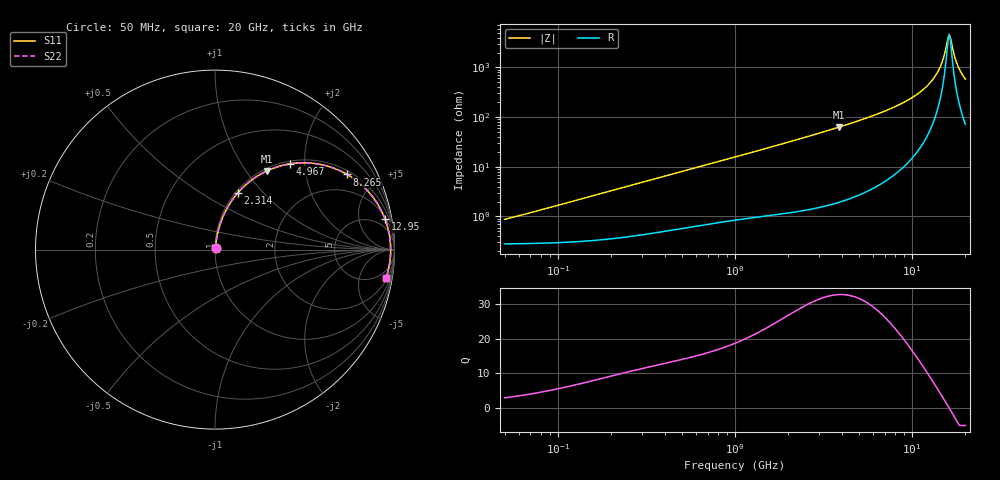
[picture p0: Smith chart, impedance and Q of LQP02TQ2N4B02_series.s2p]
!Murata Part Number: LQP02TQ2N4B02
!These Parameters are Measured in Series Mode Connection
!  o--[Z]--o
!Port1  Port2
!  o-------o
!Freq. Start=50[MHz] Stop=20[GHz], 401[Steps]
# Hz S RI R 50
!Freq.(Hz) S11(Real) S11(Imag) S21(Real) S21(Imag) S12(Real) S12(Imag) S22(Real) S22(Imag)
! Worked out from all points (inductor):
!   401 points, 50 MHz to 20 GHz, reference 50 ohm
!   read as one part in series: L = 2.63 nH near 51.52 MHz
!   highest Q = 32.7 at 3.85 GHz (marker M1), where L = 2.59 nH
!   self-resonance near 15.98 GHz
!   S11 on the Smith chart (normalised r, x): 50 MHz: 1.01, +0.02; 2.314 GHz: 1.03, +0.73; 4.967 GHz: 1.05, +1.68; 8.265 GHz: 1.15, +3.42; 12.95 GHz: 2, +11; 20 GHz: 2, -12
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5e7  0.00286 0.00823  0.9971 -0.00823  0.9971 -0.00823  0.00286 0.00823
1.364002e8  0.00364 0.0223  0.9964 -0.0223  0.9964 -0.0223  0.00364 0.0223
3.721004e8  0.00835 0.0594  0.9916 -0.0594  0.9916 -0.0594  0.00835 0.0594
1e9  0.0319 0.1509  0.9681 -0.1509  0.9681 -0.1509  0.0319 0.1509
2.313601e9  0.1255 0.3143  0.8745 -0.3143  0.8745 -0.3143  0.1255 0.3143
2.728004e9  0.1654 0.3556  0.8346 -0.3556  0.8346 -0.3556  0.1654 0.3556
3.850025e9  0.2879 0.4378  0.7121 -0.4378  0.7121 -0.4378  0.2879 0.4378
4.966507e9  0.417 0.4775  0.583 -0.4775  0.583 -0.4775  0.417 0.4775
7.442007e9  0.6699 0.4505  0.3301 -0.4505  0.3301 -0.4505  0.6699 0.4505
8.264682e9  0.7362 0.4187  0.2638 -0.4187  0.2638 -0.4187  0.7362 0.4187
1.082228e10  0.8829 0.288  0.1171 -0.288  0.1171 -0.288  0.8829 0.288
1.295331e10  0.9479 0.1687  0.0521 -0.1687  0.0521 -0.1687  0.9479 0.1687
1.438523e10  0.9697 0.0914  0.0303 -0.0914  0.0303 -0.0914  0.9697 0.0914
1.504638e10  0.9752 0.0573  0.0248 -0.0573  0.0248 -0.0573  0.9752 0.0573
1.573793e10  0.9782 0.0228  0.0218 -0.0228  0.0218 -0.0228  0.9782 0.0228
1.597544e10  0.9786 0.0113  0.0214 -0.0113  0.0214 -0.0113  0.9786 0.0113
1.621653e10  0.9788 -0.000269  0.0212 0.000269  0.0212 0.000269  0.9788 -0.000269
1.670968e10  0.9783 -0.0234  0.0217 0.0234  0.0217 0.0234  0.9783 -0.0234
1.747767e10  0.9756 -0.0579  0.0244 0.0579  0.0244 0.0579  0.9756 -0.0579
1.828096e10  0.9704 -0.0921  0.0296 0.0921  0.0296 0.0921  0.9704 -0.0921
1.940974e10  0.9597 -0.1369  0.0403 0.1369  0.0403 0.1369  0.9597 -0.1369
2e10  0.9528 -0.1589  0.0472 0.1589  0.0472 0.1589  0.9528 -0.1589
